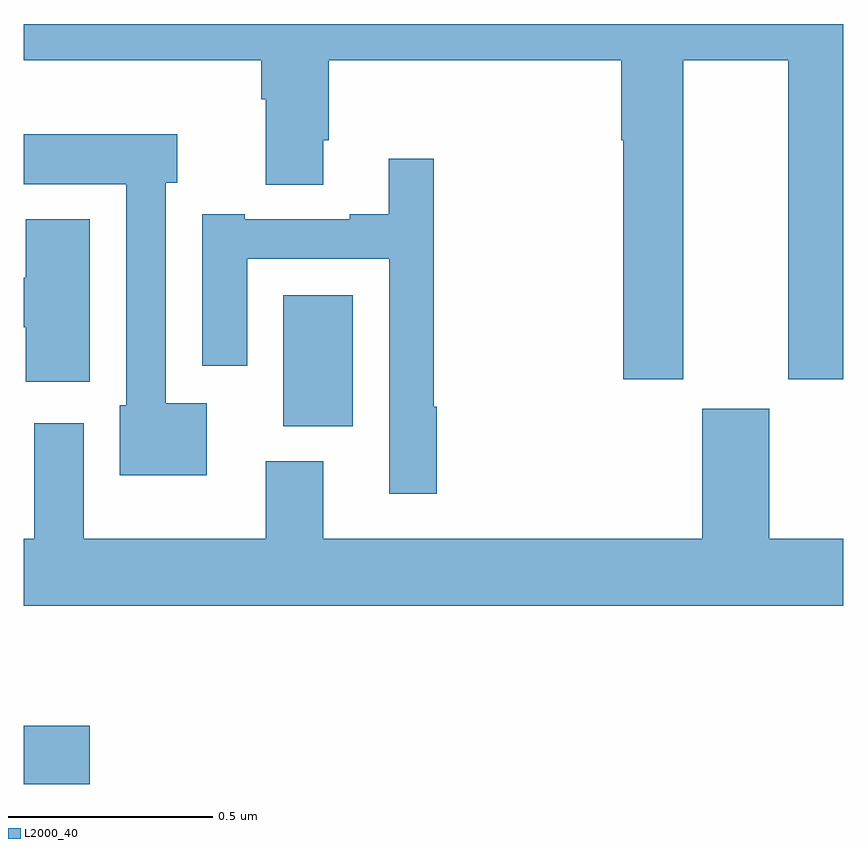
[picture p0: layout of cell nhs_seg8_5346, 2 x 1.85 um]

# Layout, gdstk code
import gdstk
lib = gdstk.Library(unit=1e-6, precision=1e-09)
def R(c, l, rs):  # rectangles x0, y0, x1, y1
    for r in rs: c.add(gdstk.rectangle(r[:2], r[2:], *l))
def P(c, l, *ps):  # polygons
    for p in ps: c.add(gdstk.Polygon(p, *l))
L2000_40 = (2000, 40)

nhs_seg8_5346 = lib.new_cell('nhs_seg8_5346')
R(nhs_seg8_5346, L2000_40, [(182,1136.045,182.161,1136.187), (182.633,1136.918,182.803,1137.238)])
P(nhs_seg8_5346, L2000_40, [(183.61,1137.812),(183.866,1137.812),(183.866,1137.033),(184,1137.033),(184,1137.9),(182,1137.9),(182,1137.812),(182.579,1137.812),(182.579,1137.716),(182.591,1137.716),(182.591,1137.508),(182.731,1137.508),(182.731,1137.616),(182.744,1137.616),(182.744,1137.812),(183.458,1137.812),(183.458,1137.616),(183.463,1137.616),(183.463,1137.033),(183.61,1137.033)],
  [(182.446,1136.974),(182.346,1136.974),(182.346,1137.513),(182.374,1137.513),(182.374,1137.631),(182,1137.631),(182,1137.509),(182.25,1137.509),(182.25,1136.97),(182.234,1136.97),(182.234,1136.798),(182.446,1136.798)],
  [(183.008,1136.966),(183.001,1136.966),(183.001,1137.571),(182.891,1137.571),(182.891,1137.436),(182.795,1137.436),(182.795,1137.423),(182.539,1137.423),(182.539,1137.436),(182.435,1137.436),(182.435,1137.066),(182.545,1137.066),(182.545,1137.327),(182.892,1137.327),(182.892,1136.754),(183.008,1136.754)],
  [(182.161,1137.424),(182.005,1137.424),(182.005,1137.281),(182,1137.281),(182,1137.16),(182.005,1137.16),(182.005,1137.027),(182.161,1137.027)],
  [(184,1136.644),(183.82,1136.644),(183.82,1136.961),(183.656,1136.961),(183.656,1136.644),(182.731,1136.644),(182.731,1136.833),(182.591,1136.833),(182.591,1136.644),(182.146,1136.644),(182.146,1136.926),(182.026,1136.926),(182.026,1136.644),(182,1136.644),(182,1136.48),(184,1136.48)])

lib.write_gds('nhs_seg8_5346.gds')
